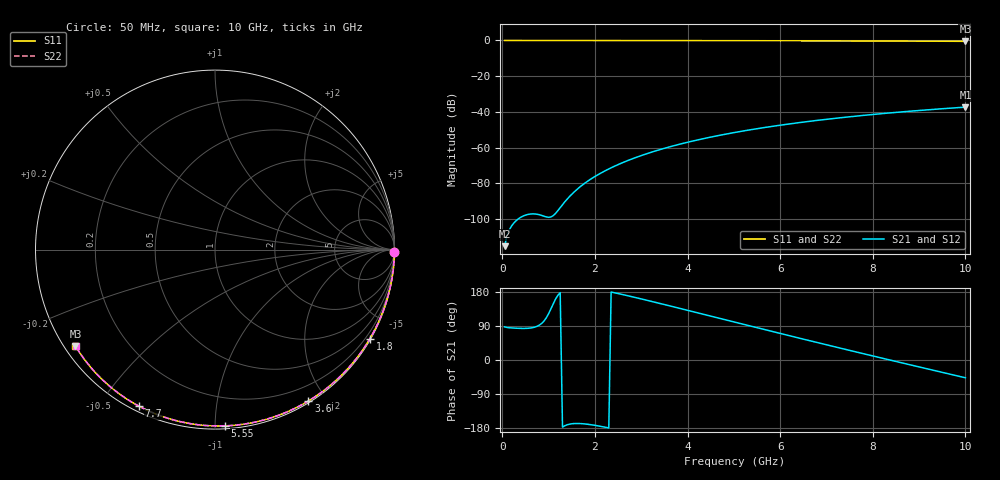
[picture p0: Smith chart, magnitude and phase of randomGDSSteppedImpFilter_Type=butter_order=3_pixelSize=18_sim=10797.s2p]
! freq	dB(S11)	phase(S11)	dB(S12)	phase(S12)
!  dB(S21)	phase(S21)	dB(S22)	phase(S22)
!S-par simulation data
#  GHz  S  DB  R 50
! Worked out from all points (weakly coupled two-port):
!   200 points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, 50 MHz to 10 GHz, reference 50 ohm
!   highest |S21| = -37.37 dB at 10 GHz (marker M1); lowest = -115.3 dB at 50 MHz (marker M2)
!   lowest |S11| = -0.5 dB at 10 GHz (marker M3), VSWR 35.41, Z = 1.55 - j15.6 ohm
!   |S11| at or under -10 dB: nowhere
!   |S22| runs from -0.5 to 0.0 dB; largest |S21 - S12| = 0
!   S11 on the Smith chart (normalised r, x): 50 MHz: open; 1.8 GHz: 0.03, -3.74; 3.6 GHz: 0.02, -1.79; 5.55 GHz: 0.02, -1.06; 7.7 GHz: 0.02, -0.63; 10 GHz: 0.03, -0.31
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0.05  -0.00 -0.8  -115.29 87.4  -115.29 87.4  -0.00 -0.8
0.45  -0.01 -7.6  -98.40 83.3  -98.40 83.3  -0.01 -7.6
0.9  -0.02 -15.1  -98.49 102.7  -98.49 102.7  -0.02 -15.1
1.3  -0.03 -21.7  -92.03 -177.0  -92.03 -177.0  -0.03 -21.7
1.75  -0.04 -29.1  -80.60 -168.4  -80.60 -168.4  -0.04 -29.1
1.8  -0.04 -29.9  -79.64 -169.0  -79.64 -169.0  -0.04 -29.9
1.95  -0.04 -32.3  -77.03 -171.4  -77.03 -171.4  -0.04 -32.3
2.1  -0.04 -34.8  -74.73 -174.5  -74.73 -174.5  -0.04 -34.8
2.3  -0.05 -38.0  -71.99 -179.3  -71.99 -179.3  -0.05 -38.0
2.5  -0.05 -41.2  -69.58 175.4  -69.58 175.4  -0.05 -41.2
2.9  -0.06 -47.5  -65.43 164.2  -65.43 164.2  -0.06 -47.5
3.4  -0.07 -55.3  -61.20 149.4  -61.20 149.4  -0.07 -55.2
3.6  -0.08 -58.3  -59.72 143.3  -59.72 143.3  -0.08 -58.3
4.3  -0.10 -68.8  -55.27 122.0  -55.27 122.0  -0.10 -68.8
5.05  -0.12 -79.8  -51.42 99.0  -51.42 99.0  -0.12 -79.7
5.55  -0.14 -86.9  -49.25 83.8  -49.25 83.8  -0.14 -86.8
6.1  -0.17 -94.5  -47.13 67.1  -47.13 67.1  -0.17 -94.4
6.7  -0.20 -102.6  -45.11 49.1  -45.11 49.1  -0.20 -102.6
7.7  -0.27 -115.8  -42.24 19.5  -42.24 19.5  -0.27 -115.8
8.35  -0.32 -124.2  -40.65 0.5  -40.65 0.5  -0.32 -124.2
9.2  -0.40 -135.1  -38.84 -24.0  -38.84 -24.0  -0.40 -135.0
10  -0.49 -145.3  -37.37 -46.9  -37.37 -46.9  -0.49 -145.3
